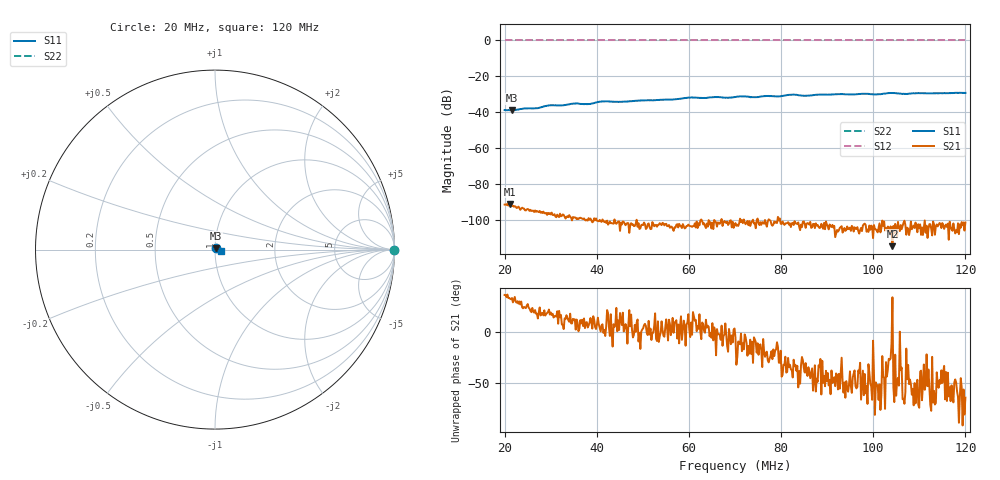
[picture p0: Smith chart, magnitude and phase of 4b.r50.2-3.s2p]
! Anritsu VNA Master:  Model: MS2036C/10/77
! SN:  1601066
! /bd0/18may26.balun/4b.r50.3.s2p
! Existing Calibration Information:
! TYPE:  Current Settings,  Active Cal Settings
! TIME:  05/26/2018 05:19:48 PM,  05/26/2018 05:08:07 PM
! INTERNAL TEMP:  52.8 C,  52.5 C
! # POINTS:  500,  500
! START FREQ:  20.000 MHz,  20.000 MHz
! STOP FREQ:  120.000 MHz,  120.000 MHz
! SOURCE POWER:  High,  High
! IFBW:  50 Hz,  50 Hz
! AVG FACTOR:  1 ,  1
! REF PLANE 1:  0 mm,  0 mm
! REF PLANE 2:  0 mm,  0 mm
! CAL TYPE:  Full S11,  Full S11
! CAL METHOD:  SOLT,  SOLT
! CAL LINE TYPE:  Coax,  Coax
! DUT PORT 1:  K-Conn(M),  K-Conn(M)
! DUT PORT 2:  K-Conn(M),  K-Conn(M)
! CAL STATUS:  OK: Accuracy High,  --
# GHZ S DB R 50.0
! FREQ.GHZ  S11DB  S11A  S21DB  S21A  S12DB  S12A  S22DB  S22A
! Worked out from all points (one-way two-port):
!   500 points, 20 MHz to 120 MHz, reference 50 ohm
!   highest |S21| = -91.06 dB at 21.2 MHz (marker M1); lowest = -114.6 dB at 104.2 MHz (marker M2)
!   lowest |S11| = -39.0 dB at 21.6 MHz (marker M3), VSWR 1.02, Z = 50.7 + j0.902 ohm
!   |S11| at or under -10 dB: start of sweep to end of sweep
!   |S22| runs from 0.0 to 0.0 dB; largest |S21 - S12| = 1
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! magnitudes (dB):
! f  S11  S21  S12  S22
! 20 MHz  -38.8  -91.4  0.0  0.0
! 21.2 MHz  -38.9  -91.1  0.0  0.0
! 21.6 MHz  -39.0  -92.2  0.0  0.0
! 27.21 MHz  -37.7  -95.3  0.0  0.0
! 29.82 MHz  -36.1  -96.2  0.0  0.0
! 32.63 MHz  -36.1  -96.9  0.0  0.0
! 35.43 MHz  -35.1  -98.7  0.0  0.0
! 36.83 MHz  -35.4  -99.3  0.0  0.0
! 38.44 MHz  -35.4  -99.9  0.0  0.0
! 41.44 MHz  -33.9  -100.7  0.0  0.0
! 45.25 MHz  -34.2  -101.5  0.0  0.0
! 53.47 MHz  -33.1  -102.6  0.0  0.0
! 60.28 MHz  -31.9  -103.4  0.0  0.0
! 70.1 MHz  -31.5  -101.7  0.0  0.0
! 79.32 MHz  -31.2  -98.3  0.0  0.0
! 82.32 MHz  -30.2  -101.8  0.0  0.0
! 86.73 MHz  -30.5  -104.1  0.0  0.0
! 100.8 MHz  -30.1  -105.9  0.0  0.0
! 103.4 MHz  -29.3  -104.2  0.0  0.0
! 104.2 MHz  -29.3  -114.6  0.0  0.0
! 107.2 MHz  -29.8  -108.2  0.0  0.0
! 120 MHz  -29.2  -101.4  0.0  0.0
